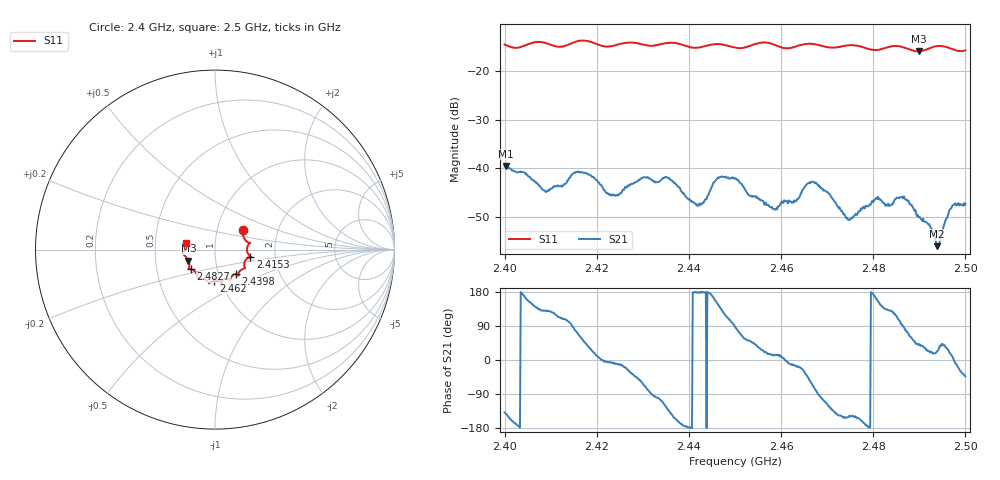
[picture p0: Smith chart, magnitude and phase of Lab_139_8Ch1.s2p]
# Hz S RI R 50
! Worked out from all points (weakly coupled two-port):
!   601 points, 2.4 GHz to 2.5 GHz, reference 50 ohm
!   highest |S21| = -39.57 dB at 2.4003 GHz (marker M1); lowest = -56.1 dB at 2.4938 GHz (marker M2)
!   lowest |S11| = -15.9 dB at 2.4898 GHz (marker M3), VSWR 1.38, Z = 36.9 - j4.61 ohm
!   |S11| at or under -10 dB: start of sweep to end of sweep
!   S12 and S22 are empty: the file has one direction only
!   S11 on the Smith chart (normalised r, x): 2.4 GHz: 1.33, +0.29; 2.4153 GHz: 1.48, -0.12; 2.4398 GHz: 1.21, -0.34; 2.462 GHz: 0.93, -0.33; 2.4827 GHz: 0.75, -0.17; 2.5 GHz: 0.72, +0.06
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2.4e9  0.1552 0.1066  -0.00782 -0.00693  0 0  0 0
2.400333e9  0.1549 0.1018  -0.00829 -0.00644  0 0  0 0
2.408833e9  0.1926 0.035  -0.00369 0.0044  0 0  0 0
2.415333e9  0.1965 -0.0391  0.00181 0.00894  0 0  0 0
2.416667e9  0.2023 -0.043  0.00488 0.00764  0 0  0 0
2.4235e9  0.1626 -0.0821  0.00531 -0.000628  0 0  0 0
2.433333e9  0.1309 -0.1336  -0.00125 -0.00705  0 0  0 0
2.439833e9  0.1156 -0.136  -0.00481 -0.000185  0 0  0 0
2.4425e9  0.0918 -0.1502  -0.00417 6.5e-05  0 0  0 0
2.446333e9  0.085 -0.1703  -0.00663 0.00447  0 0  0 0
2.45e9  0.0655 -0.1624  0.000371 0.00784  0 0  0 0
2.458333e9  0.0358 -0.1858  0.00368 0.000771  0 0  0 0
2.462e9  -0.00507 -0.1731  0.00443 -0.000871  0 0  0 0
2.466667e9  -0.0344 -0.1882  0.00337 -0.00644  0 0  0 0
2.474667e9  -0.0916 -0.1604  -0.00252 -0.00145  0 0  0 0
2.482667e9  -0.1352 -0.1091  -0.00282 0.00293  0 0  0 0
2.483333e9  -0.1404 -0.1087  -0.00281 0.00321  0 0  0 0
2.486333e9  -0.1452 -0.1024  -0.000132 0.00507  0 0  0 0
2.489833e9  -0.1479 -0.0609  0.00241 0.00197  0 0  0 0
2.493833e9  -0.1799 -0.0232  0.00144 0.000606  0 0  0 0
2.497e9  -0.1698 -0.00761  0.0038 0.000846  0 0  0 0
2.5e9  -0.159 0.0386  0.00314 -0.00293  0 0  0 0
